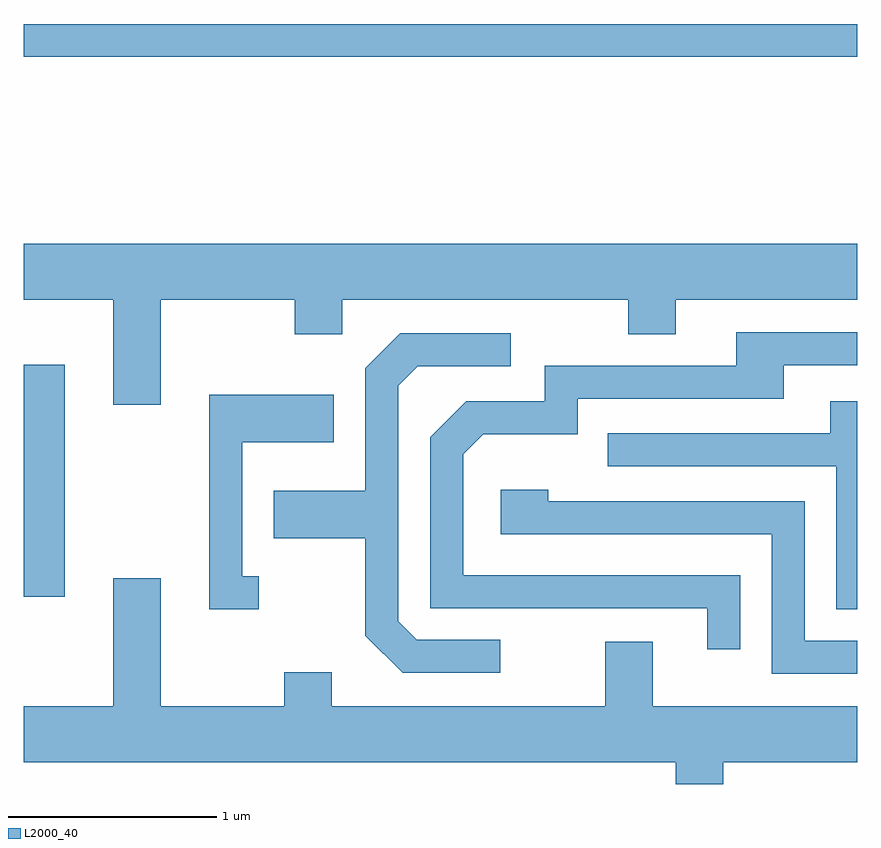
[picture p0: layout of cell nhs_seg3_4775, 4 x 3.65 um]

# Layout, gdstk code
import gdstk
lib = gdstk.Library(unit=1e-6, precision=1e-09)
def R(c, l, rs):  # rectangles x0, y0, x1, y1
    for r in rs: c.add(gdstk.rectangle(r[:2], r[2:], *l))
def P(c, l, *ps):  # polygons
    for p in ps: c.add(gdstk.Polygon(p, *l))
L2000_40 = (2000, 40)

nhs_seg3_4775 = lib.new_cell('nhs_seg3_4775')
R(nhs_seg3_4775, L2000_40, [(325.611,1146.791,325.809,1147.904), (325.611,1149.381,329.611,1149.539)])
P(nhs_seg3_4775, L2000_40, [(326.269,1148.216),(326.911,1148.216),(326.911,1148.051),(327.139,1148.051),(327.139,1148.216),(328.511,1148.216),(328.511,1148.051),(328.739,1148.051),(328.739,1148.216),(329.611,1148.216),(329.611,1148.484),(325.611,1148.484),(325.611,1148.216),(326.041,1148.216),(326.041,1147.711),(326.269,1147.711)],
  [(329.049,1146.894),(327.719,1146.894),(327.719,1147.474),(327.817,1147.571),(328.269,1147.571),(328.269,1147.741),(329.259,1147.741),(329.259,1147.901),(329.611,1147.901),(329.611,1148.059),(329.031,1148.059),(329.031,1147.899),(328.111,1147.899),(328.111,1147.729),(327.734,1147.729),(327.561,1147.557),(327.561,1146.736),(328.891,1146.736),(328.891,1146.538),(329.049,1146.538)],
  [(327.898,1146.584),(327.497,1146.584),(327.409,1146.672),(327.409,1147.804),(327.502,1147.896),(327.948,1147.896),(327.948,1148.054),(327.419,1148.054),(327.251,1147.887),(327.251,1147.299),(326.811,1147.299),(326.811,1147.071),(327.251,1147.071),(327.251,1146.604),(327.429,1146.426),(327.898,1146.426)],
  [(326.738,1146.889),(326.659,1146.889),(326.659,1147.531),(327.099,1147.531),(327.099,1147.759),(326.501,1147.759),(326.501,1146.731),(326.738,1146.731)],
  [(329.611,1147.729),(329.481,1147.729),(329.481,1147.574),(328.413,1147.574),(328.413,1147.416),(329.511,1147.416),(329.511,1146.731),(329.611,1146.731)],
  [(329.611,1146.579),(329.359,1146.579),(329.359,1147.249),(328.129,1147.249),(328.129,1147.304),(327.901,1147.304),(327.901,1147.091),(329.201,1147.091),(329.201,1146.421),(329.611,1146.421)],
  [(328.969,1145.996),(329.611,1145.996),(329.611,1146.264),(328.629,1146.264),(328.629,1146.574),(328.401,1146.574),(328.401,1146.264),(327.089,1146.264),(327.089,1146.429),(326.861,1146.429),(326.861,1146.264),(326.269,1146.264),(326.269,1146.879),(326.041,1146.879),(326.041,1146.264),(325.611,1146.264),(325.611,1145.996),(328.741,1145.996),(328.741,1145.892),(328.969,1145.892)])

lib.write_gds('nhs_seg3_4775.gds')
